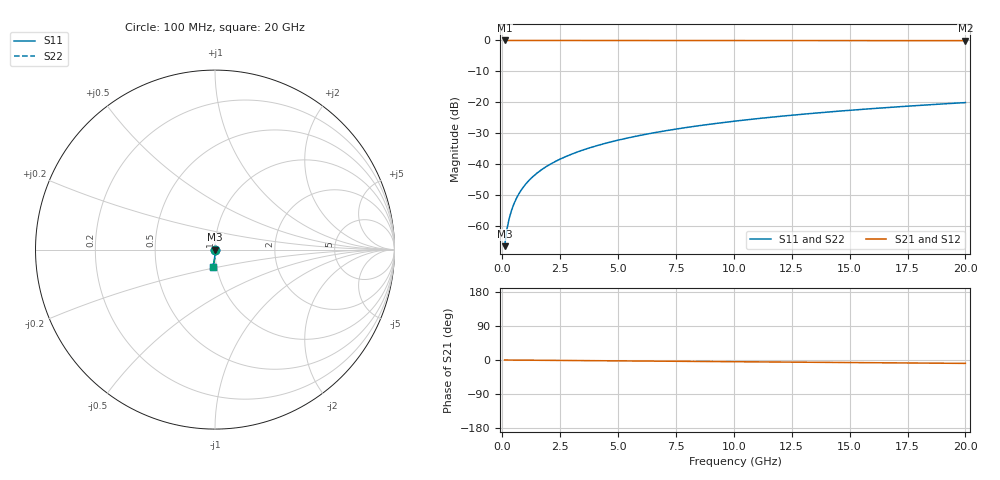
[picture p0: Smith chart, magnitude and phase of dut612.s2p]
! Touchstone file exported from HFSS 2026.1.0
!  File:  C:/ffzhzh/LocalFiles/Ansys_Project_Files/temp_train_TSV_612_1783025712_4048.aedt
!  Generated:  04:56:40 AM Jul  3, 2026
!  Design:  TSV
!  Project:  temp_train_TSV_612_1783025712_4048
! Variables:
!  h_bsmrdl = 2um
!  h_ox = 20um
!  h_rdl = 5um
!  h_sub = 74.97um
!  h_tmrdl = 5um
!  h_tsv = 74.97um
!  h_via = 3um
!  l_bsmrdl = 300um
!  l_sub = 415.24um
!  l_tmrdl = 200um
!  m_sub = 200um
!  pitch = 18.28um
!  r_tsv = 7.62um
!  s_tmrdl = 10um
!  w_bsmrdl = 18um
!  w_sub = 500um
!  w_tmrdl = 12um
!  x_tsv_center1 = 206um
!  x_tsv_center2 = 524um
!  x_tsv_center3 = 736um
!  x_tsv_center4 = 1054um
!  x_tsv_center5 = 1266um
!  x_tsv_center6 = 1584um
# GHz S MA R 50.000000
! Terminal data exported
! Port[1] = TSV1_1_T1
! Port[2] = TSV1_1_T2
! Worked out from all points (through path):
!   200 points, 100 MHz to 20 GHz, reference 50 ohm
!   highest |S21| = 0.00 dB at 100 MHz (marker M1); lowest = -0.1 dB at 20 GHz (marker M2)
!   group delay of S21, straight-line fit = 1.24 ps
!   lowest |S11| = -66.6 dB at 100 MHz (marker M3), VSWR 1.00, Z = 50 - j0.0418 ohm
!   |S11| at or under -10 dB: start of sweep to end of sweep
!   |S22| runs from -66.6 to -20.1 dB; largest |S21 - S12| = 3.2e-15
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0.1  0.0004659 -63.7  0.9998 -0.0  0.9998 -0.0  0.0004659 -63.7
! Gamma 0 0 0 0
! Port Impedance 50 0 50 0
0.2  0.0008768 -74.5  0.9998 -0.1  0.9998 -0.1  0.0008768 -74.5
0.3  0.001316 -78.0  0.9997 -0.1  0.9997 -0.1  0.001316 -78.0
0.4  0.001772 -79.8  0.9997 -0.2  0.9997 -0.2  0.001772 -79.8
0.5  0.002241 -80.9  0.9996 -0.2  0.9996 -0.2  0.002241 -80.9
0.7  0.003202 -82.6  0.9996 -0.3  0.9996 -0.3  0.003202 -82.6
0.8  0.003687 -83.2  0.9995 -0.4  0.9995 -0.4  0.003687 -83.2
1  0.004663 -84.2  0.9995 -0.5  0.9995 -0.5  0.004663 -84.2
1.2  0.00564 -85.0  0.9994 -0.6  0.9994 -0.6  0.00564 -85.0
1.4  0.006616 -85.7  0.9994 -0.6  0.9994 -0.6  0.006616 -85.7
1.7  0.008081 -86.4  0.9993 -0.8  0.9993 -0.8  0.008081 -86.4
2  0.009545 -87.0  0.9993 -0.9  0.9993 -0.9  0.009545 -87.0
2.7  0.01297 -88.0  0.9992 -1.2  0.9992 -1.2  0.01297 -88.0
3.5  0.01689 -88.7  0.999 -1.6  0.999 -1.6  0.01689 -88.7
4.2  0.02034 -89.3  0.9989 -1.9  0.9989 -1.9  0.02034 -89.3
5  0.02429 -89.8  0.9987 -2.3  0.9987 -2.3  0.02429 -89.8
6.8  0.03321 -91.0  0.9982 -3.1  0.9982 -3.1  0.03321 -91.0
8.3  0.04067 -91.8  0.9978 -3.7  0.9978 -3.7  0.04067 -91.8
10.1  0.04961 -92.8  0.9973 -4.5  0.9973 -4.5  0.04961 -92.8
13.4  0.06599 -94.5  0.9961 -6.0  0.9961 -6.0  0.06599 -94.5
16.7  0.0823 -96.1  0.9946 -7.5  0.9946 -7.5  0.0823 -96.1
20  0.09855 -97.7  0.9929 -8.9  0.9929 -8.9  0.09855 -97.7
